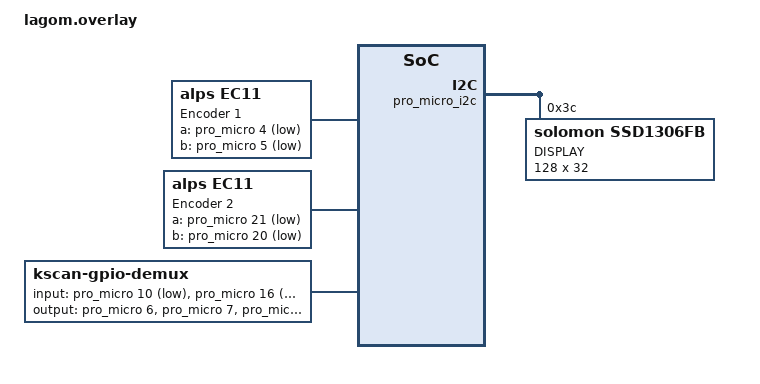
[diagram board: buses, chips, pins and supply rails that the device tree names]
/*
 * Copyright (c) 2020 The ZMK Contributors
 *
 * SPDX-License-Identifier: MIT
 */

#include <dt-bindings/zmk/matrix_transform.h>

/ {
    chosen {
        zephyr,display = &oled;
        zmk,kscan = &kscan0;
    };

    encoder_1: encoder_1 {
        compatible = "alps,ec11";
        label = "Encoder 1";
        a-gpios = <&pro_micro 4 (GPIO_ACTIVE_LOW | GPIO_PULL_UP)>;
        b-gpios = <&pro_micro 5 (GPIO_ACTIVE_LOW | GPIO_PULL_UP)>;
        steps = <80>;
        status = "okay";
    };

    encoder_2: encoder_2 {
        compatible = "alps,ec11";
        label = "Encoder 2";
        a-gpios = <&pro_micro 21 (GPIO_ACTIVE_LOW | GPIO_PULL_UP)>;
        b-gpios = <&pro_micro 20 (GPIO_ACTIVE_LOW | GPIO_PULL_UP)>;
        steps = <80>;
        status = "okay";
    };

    kscan0: kscan {
        compatible = "zmk,kscan-gpio-demux";
        label = "KSCAN";
        debounce-period = <4>;
        polling-interval-msec = <8>;
        input-gpios // B6, B2, B3, B1, F7 - pro micro
            = <&pro_micro 10 (GPIO_ACTIVE_LOW | GPIO_PULL_UP)> // B6
            , <&pro_micro 16 (GPIO_ACTIVE_LOW | GPIO_PULL_UP)> // B2
            , <&pro_micro 14 (GPIO_ACTIVE_LOW | GPIO_PULL_UP)> // B3
            , <&pro_micro 15 (GPIO_ACTIVE_LOW | GPIO_PULL_UP)> // B1
            , <&pro_micro 18 (GPIO_ACTIVE_LOW | GPIO_PULL_UP)> // F7
            ;
        output-gpios // D7, E6, B4, B5 lagom - pro micro
            = <&pro_micro 6 GPIO_ACTIVE_HIGH> // D7
            , <&pro_micro 7 GPIO_ACTIVE_HIGH> // E6
            , <&pro_micro 8 GPIO_ACTIVE_HIGH> // B4
            , <&pro_micro 9 GPIO_ACTIVE_HIGH> // B5
            ;
    };
    
    sensors: sensors {
        compatible = "zmk,keymap-sensors";
        sensors = <&encoder_1 &encoder_2>;
        triggers-per-rotation = <20>;
    };
};

&pro_micro_i2c {
    status = "okay";

    oled: ssd1306@3c {
        compatible = "solomon,ssd1306fb";
        reg = <0x3c>;
        label = "DISPLAY";
        width = <128>;
        height = <32>;
        segment-offset = <0>;
        page-offset = <0>;
        display-offset = <0>;
        multiplex-ratio = <31>;
        com-sequential;
        prechargep = <0x22>;
    };

};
